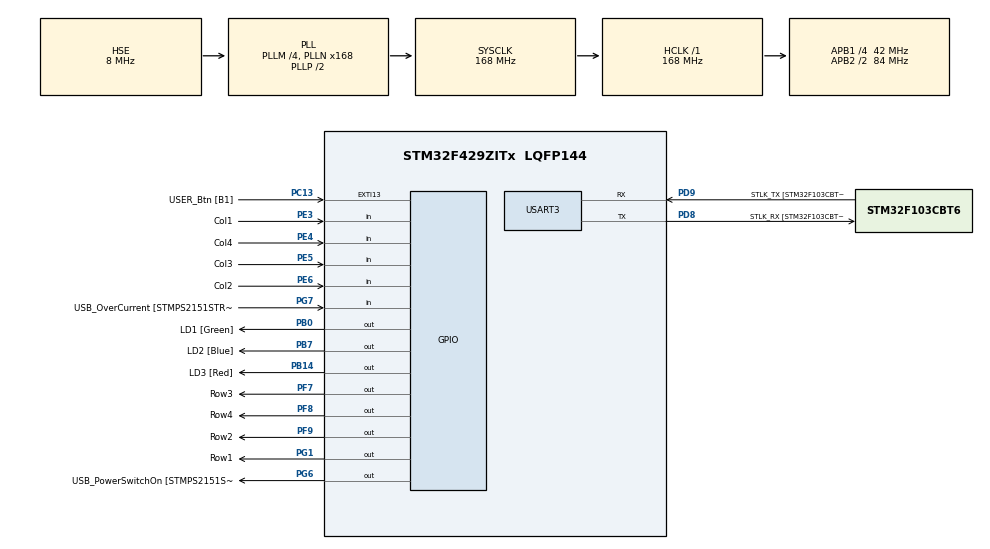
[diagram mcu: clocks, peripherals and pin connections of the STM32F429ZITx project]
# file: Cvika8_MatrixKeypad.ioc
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Mcu.Family=STM32F4
Mcu.Name=STM32F429ZITx
Mcu.Package=LQFP144
NVIC.PriorityGroup=NVIC_PRIORITYGROUP_4
NVIC.TIM3_IRQn=true\:0\:0\:false\:false\:true\:true\:true\:true
PA1.GPIO_Label=RMII_REF_CLK [LAN8742A-CZ-TR_REFCLK0]
PA1.Signal=ETH_REF_CLK
PA10.GPIO_Label=USB_ID
PA10.Signal=USB_OTG_FS_ID
PA11.GPIO_Label=USB_DM
PA11.Signal=USB_OTG_FS_DM
PA12.GPIO_Label=USB_DP
PA12.Signal=USB_OTG_FS_DP
PA13.GPIO_Label=TMS
PA13.Mode=Serial_Wire
PA13.Signal=SYS_JTMS-SWDIO
PA14.GPIO_Label=TCK
PA14.Mode=Serial_Wire
PA14.Signal=SYS_JTCK-SWCLK
PA2.GPIO_Label=RMII_MDIO [LAN8742A-CZ-TR_MDIO]
PA2.Signal=ETH_MDIO
PA7.GPIO_Label=RMII_CRS_DV [LAN8742A-CZ-TR_CRS_DV]
PA7.Signal=ETH_CRS_DV
PA8.GPIO_Label=USB_SOF [TP1]
PA8.Signal=USB_OTG_FS_SOF
PA9.GPIO_Label=USB_VBUS
PA9.Signal=USB_OTG_FS_VBUS
PB0.GPIO_Label=LD1 [Green]
PB0.Signal=GPIO_Output
PB13.GPIO_Label=RMII_TXD1 [LAN8742A-CZ-TR_TXD1]
PB13.Signal=ETH_TXD1
PB14.GPIO_Label=LD3 [Red]
PB14.Signal=GPIO_Output
PB7.GPIO_Label=LD2 [Blue]
PB7.Signal=GPIO_Output
PC1.GPIO_Label=RMII_MDC [LAN8742A-CZ-TR_MDC]
PC1.Signal=ETH_MDC
PC13.GPIO_Label=USER_Btn [B1]
PC13.Signal=GPXTI13
PC14/OSC32_IN.Mode=LSE-External-Oscillator
PC14/OSC32_IN.Signal=RCC_OSC32_IN
PC15/OSC32_OUT.Mode=LSE-External-Oscillator
PC15/OSC32_OUT.Signal=RCC_OSC32_OUT
PC4.GPIO_Label=RMII_RXD0 [LAN8742A-CZ-TR_RXD0]
PC4.Signal=ETH_RXD0
PC5.GPIO_Label=RMII_RXD1 [LAN8742A-CZ-TR_RXD1]
PC5.Signal=ETH_RXD1
PD8.GPIO_Label=STLK_RX [STM32F103CBT6_PA3]
PD8.Mode=Asynchronous
PD8.Signal=USART3_TX
PD9.GPIO_Label=STLK_TX [STM32F103CBT6_PA2]
PD9.Mode=Asynchronous
PD9.Signal=USART3_RX
PE3.GPIO_Label=Col1
PE3.GPIO_PuPd=GPIO_PULLUP
PE3.Signal=GPIO_Input
PE4.GPIO_Label=Col4
PE4.GPIO_PuPd=GPIO_PULLUP
PE4.Signal=GPIO_Input
PE5.GPIO_Label=Col3
PE5.GPIO_PuPd=GPIO_PULLUP
PE5.Signal=GPIO_Input
PE6.GPIO_Label=Col2
PE6.GPIO_PuPd=GPIO_PULLUP
PE6.Signal=GPIO_Input
PF7.GPIO_Label=Row3
PF7.GPIO_ModeDefaultOutputPP=GPIO_MODE_OUTPUT_OD
PF7.GPIO_PuPd=GPIO_NOPULL
PF7.Signal=GPIO_Output
PF8.GPIO_Label=Row4
PF8.GPIO_ModeDefaultOutputPP=GPIO_MODE_OUTPUT_OD
PF8.GPIO_PuPd=GPIO_NOPULL
PF8.Signal=GPIO_Output
PF9.GPIO_Label=Row2
PF9.GPIO_ModeDefaultOutputPP=GPIO_MODE_OUTPUT_OD
PF9.GPIO_PuPd=GPIO_NOPULL
PF9.Signal=GPIO_Output
PG1.GPIO_Label=Row1
PG1.GPIO_ModeDefaultOutputPP=GPIO_MODE_OUTPUT_OD
PG1.GPIO_PuPd=GPIO_NOPULL
PG1.Signal=GPIO_Output
PG11.GPIO_Label=RMII_TX_EN [LAN8742A-CZ-TR_TXEN]
PG11.Signal=ETH_TX_EN
PG13.GPIO_Label=RMII_TXD0 [LAN8742A-CZ-TR_TXD0]
PG13.Signal=ETH_TXD0
PG6.GPIO_Label=USB_PowerSwitchOn [STMPS2151STR_EN]
PG6.Signal=GPIO_Output
PG7.GPIO_Label=USB_OverCurrent [STMPS2151STR_FAULT]
PG7.Signal=GPIO_Input
PH0/OSC_IN.GPIO_Label=MCO [STM32F103CBT6_PA8]
PH0/OSC_IN.Mode=HSE-External-Clock-Source
PH0/OSC_IN.Signal=RCC_OSC_IN
PH1/OSC_OUT.Mode=HSE-External-Clock-Source
PH1/OSC_OUT.Signal=RCC_OSC_OUT
ProjectManager.HeapSize=0x200
ProjectManager.StackSize=0x400
ProjectManager.TargetToolchain=STM32CubeIDE
RCC.48MHZClocksFreq_Value=48000000
RCC.AHBFreq_Value=168000000
RCC.APB1CLKDivider=RCC_HCLK_DIV4
RCC.APB1Freq_Value=42000000
RCC.APB1TimFreq_Value=84000000
RCC.APB2CLKDivider=RCC_HCLK_DIV2
RCC.APB2Freq_Value=84000000
RCC.APB2TimCLKDivider=2
RCC.APB2TimFreq_Value=168000000
RCC.CortexFreq_Value=168000000
RCC.HCLKFreq_Value=168000000
RCC.HSE_VALUE=8000000
RCC.HSI_VALUE=16000000
RCC.PLLM=4
RCC.PLLMUL=RCC_PLL_MUL9
RCC.PLLN=168
RCC.PLLQ=7
RCC.PLLSourceVirtual=RCC_PLLSOURCE_HSE
RCC.PRESCALERUSB=RCC_USBCLKSOURCE_PLL_DIV1_5
RCC.SYSCLKFreq_VALUE=168000000
RCC.SYSCLKSource=RCC_SYSCLKSOURCE_PLLCLK
RCC.SYSCLKSourceVirtual=RCC_SYSCLKSOURCE_PLLCLK
RCC.USBFreq_Value=48000000
RCC.VCOOutputFreq_Value=336000000
TIM3.AutoReloadPreload=TIM_AUTORELOAD_PRELOAD_ENABLE
TIM3.Period=99
TIM3.Prescaler=8399
USART3.VirtualMode=VM_ASYNC
VP_TIM3_VS_ClockSourceINT.Mode=Internal
board=NUCLEO-F429ZI

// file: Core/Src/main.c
/* USER CODE BEGIN Header */
/**
 ******************************************************************************
 * @file           : main.c
 * @brief          : Main program body
 ******************************************************************************
 * @attention
 *
 * Copyright (c) 2024 STMicroelectronics.
 * All rights reserved.
 *
 * This software is licensed under terms that can be found in the LICENSE file
 * in the root directory of this software component.
 * If no LICENSE file comes with this software, it is provided AS-IS.
 *
 ******************************************************************************
 */
/* USER CODE END Header */
#include "main.h"

/* USER CODE BEGIN Includes */
#include <stdio.h>
/* USER CODE END Includes */

TIM_HandleTypeDef htim3;

UART_HandleTypeDef huart3;

/* USER CODE BEGIN PV */
static volatile char key;
static const char pass[5] = {'7','9','3','2','#'};
static uint8_t index = 0;
static uint32_t CurrentTime;

/* USER CODE END PV */

void SystemClock_Config(void);
static void MX_GPIO_Init(void);
static void MX_USART3_UART_Init(void);
static void MX_TIM3_Init(void);

/* USER CODE BEGIN 0 */

int __io_putchar(int ch)
{
	ITM_SendChar(ch);
	return 0;
}

void passCompare();

/* USER CODE END 0 */

int main(void)
{

	/* MCU Configuration--------------------------------------------------------*/

	/* Reset of all peripherals, Initializes the Flash interface and the Systick. */
	HAL_Init();

	/* Configure the system clock */
	SystemClock_Config();

	/* Initialize all configured peripherals */
	MX_GPIO_Init();
	MX_USART3_UART_Init();
	MX_TIM3_Init();
	/* USER CODE BEGIN 2 */
	HAL_TIM_Base_Start_IT(&htim3);
	/* USER CODE END 2 */

	/* Infinite loop */
	/* USER CODE BEGIN WHILE */
	while (1)
	{
		/*
		HAL_GPIO_TogglePin(LD1_GPIO_Port, LD1_Pin);
		HAL_Delay(250);

		for(int i = 0; i < 10; i++)
		{
			printf("Hello %d\n",i);
			HAL_Delay(1000);
		}
		 */

		passCompare();

		/* USER CODE END WHILE */

	}
}

void SystemClock_Config(void)
{
	RCC_OscInitTypeDef RCC_OscInitStruct = {0};
	RCC_ClkInitTypeDef RCC_ClkInitStruct = {0};

	/** Configure the main internal regulator output voltage
	 */
	__HAL_RCC_PWR_CLK_ENABLE();
	__HAL_PWR_VOLTAGESCALING_CONFIG(PWR_REGULATOR_VOLTAGE_SCALE1);

	/** Initializes the RCC Oscillators according to the specified parameters
	 * in the RCC_OscInitTypeDef structure.
	 */
	RCC_OscInitStruct.OscillatorType = RCC_OSCILLATORTYPE_HSE;
	RCC_OscInitStruct.HSEState = RCC_HSE_BYPASS;
	RCC_OscInitStruct.PLL.PLLState = RCC_PLL_ON;
	RCC_OscInitStruct.PLL.PLLSource = RCC_PLLSOURCE_HSE;
	RCC_OscInitStruct.PLL.PLLM = 4;
	RCC_OscInitStruct.PLL.PLLN = 168;
	RCC_OscInitStruct.PLL.PLLP = RCC_PLLP_DIV2;
	RCC_OscInitStruct.PLL.PLLQ = 7;
	if (HAL_RCC_OscConfig(&RCC_OscInitStruct) != HAL_OK)
	{
		Error_Handler();
	}

	/** Initializes the CPU, AHB and APB buses clocks
	 */
	RCC_ClkInitStruct.ClockType = RCC_CLOCKTYPE_HCLK|RCC_CLOCKTYPE_SYSCLK
			|RCC_CLOCKTYPE_PCLK1|RCC_CLOCKTYPE_PCLK2;
	RCC_ClkInitStruct.SYSCLKSource = RCC_SYSCLKSOURCE_PLLCLK;
	RCC_ClkInitStruct.AHBCLKDivider = RCC_SYSCLK_DIV1;
	RCC_ClkInitStruct.APB1CLKDivider = RCC_HCLK_DIV4;
	RCC_ClkInitStruct.APB2CLKDivider = RCC_HCLK_DIV2;

	if (HAL_RCC_ClockConfig(&RCC_ClkInitStruct, FLASH_LATENCY_5) != HAL_OK)
	{
		Error_Handler();
	}
}

static void MX_TIM3_Init(void)
{

	TIM_ClockConfigTypeDef sClockSourceConfig = {0};
	TIM_MasterConfigTypeDef sMasterConfig = {0};

	htim3.Instance = TIM3;
	htim3.Init.Prescaler = 8399;
	htim3.Init.CounterMode = TIM_COUNTERMODE_UP;
	htim3.Init.Period = 99;
	htim3.Init.ClockDivision = TIM_CLOCKDIVISION_DIV1;
	htim3.Init.AutoReloadPreload = TIM_AUTORELOAD_PRELOAD_ENABLE;
	if (HAL_TIM_Base_Init(&htim3) != HAL_OK)
	{
		Error_Handler();
	}
	sClockSourceConfig.ClockSource = TIM_CLOCKSOURCE_INTERNAL;
	if (HAL_TIM_ConfigClockSource(&htim3, &sClockSourceConfig) != HAL_OK)
	{
		Error_Handler();
	}
	sMasterConfig.MasterOutputTrigger = TIM_TRGO_RESET;
	sMasterConfig.MasterSlaveMode = TIM_MASTERSLAVEMODE_DISABLE;
	if (HAL_TIMEx_MasterConfigSynchronization(&htim3, &sMasterConfig) != HAL_OK)
	{
		Error_Handler();
	}

}

static void MX_USART3_UART_Init(void)
{

	huart3.Instance = USART3;
	huart3.Init.BaudRate = 115200;
	huart3.Init.WordLength = UART_WORDLENGTH_8B;
	huart3.Init.StopBits = UART_STOPBITS_1;
	huart3.Init.Parity = UART_PARITY_NONE;
	huart3.Init.Mode = UART_MODE_TX_RX;
	huart3.Init.HwFlowCtl = UART_HWCONTROL_NONE;
	huart3.Init.OverSampling = UART_OVERSAMPLING_16;
	if (HAL_UART_Init(&huart3) != HAL_OK)
	{
		Error_Handler();
	}

}

static void MX_GPIO_Init(void)
{
	GPIO_InitTypeDef GPIO_InitStruct = {0};

	/* GPIO Ports Clock Enable */
	__HAL_RCC_GPIOE_CLK_ENABLE();
	__HAL_RCC_GPIOC_CLK_ENABLE();
	__HAL_RCC_GPIOF_CLK_ENABLE();
	__HAL_RCC_GPIOH_CLK_ENABLE();
	__HAL_RCC_GPIOA_CLK_ENABLE();
	__HAL_RCC_GPIOB_CLK_ENABLE();
	__HAL_RCC_GPIOG_CLK_ENABLE();
	__HAL_RCC_GPIOD_CLK_ENABLE();

	/*Configure GPIO pin Output Level */
	HAL_GPIO_WritePin(GPIOF, Row3_Pin|Row4_Pin|Row2_Pin, GPIO_PIN_RESET);

	/*Configure GPIO pin Output Level */
	HAL_GPIO_WritePin(GPIOB, LD1_Pin|LD3_Pin|LD2_Pin, GPIO_PIN_RESET);

	/*Configure GPIO pin Output Level */
	HAL_GPIO_WritePin(GPIOG, Row1_Pin|USB_PowerSwitchOn_Pin, GPIO_PIN_RESET);

	/*Configure GPIO pins : Col1_Pin Col4_Pin Col3_Pin Col2_Pin */
	GPIO_InitStruct.Pin = Col1_Pin|Col4_Pin|Col3_Pin|Col2_Pin;
	GPIO_InitStruct.Mode = GPIO_MODE_INPUT;
	GPIO_InitStruct.Pull = GPIO_PULLUP;
	HAL_GPIO_Init(GPIOE, &GPIO_InitStruct);

	/*Configure GPIO pin : USER_Btn_Pin */
	GPIO_InitStruct.Pin = USER_Btn_Pin;
	GPIO_InitStruct.Mode = GPIO_MODE_IT_RISING;
	GPIO_InitStruct.Pull = GPIO_NOPULL;
	HAL_GPIO_Init(USER_Btn_GPIO_Port, &GPIO_InitStruct);

	/*Configure GPIO pins : Row3_Pin Row4_Pin Row2_Pin */
	GPIO_InitStruct.Pin = Row3_Pin|Row4_Pin|Row2_Pin;
	GPIO_InitStruct.Mode = GPIO_MODE_OUTPUT_OD;
	GPIO_InitStruct.Pull = GPIO_NOPULL;
	GPIO_InitStruct.Speed = GPIO_SPEED_FREQ_LOW;
	HAL_GPIO_Init(GPIOF, &GPIO_InitStruct);

	/*Configure GPIO pins : RMII_MDC_Pin RMII_RXD0_Pin RMII_RXD1_Pin */
	GPIO_InitStruct.Pin = RMII_MDC_Pin|RMII_RXD0_Pin|RMII_RXD1_Pin;
	GPIO_InitStruct.Mode = GPIO_MODE_AF_PP;
	GPIO_InitStruct.Pull = GPIO_NOPULL;
	GPIO_InitStruct.Speed = GPIO_SPEED_FREQ_VERY_HIGH;
	GPIO_InitStruct.Alternate = GPIO_AF11_ETH;
	HAL_GPIO_Init(GPIOC, &GPIO_InitStruct);

	/*Configure GPIO pins : RMII_REF_CLK_Pin RMII_MDIO_Pin RMII_CRS_DV_Pin */
	GPIO_InitStruct.Pin = RMII_REF_CLK_Pin|RMII_MDIO_Pin|RMII_CRS_DV_Pin;
	GPIO_InitStruct.Mode = GPIO_MODE_AF_PP;
	GPIO_InitStruct.Pull = GPIO_NOPULL;
	GPIO_InitStruct.Speed = GPIO_SPEED_FREQ_VERY_HIGH;
	GPIO_InitStruct.Alternate = GPIO_AF11_ETH;
	HAL_GPIO_Init(GPIOA, &GPIO_InitStruct);

	/*Configure GPIO pins : LD1_Pin LD3_Pin LD2_Pin */
	GPIO_InitStruct.Pin = LD1_Pin|LD3_Pin|LD2_Pin;
	GPIO_InitStruct.Mode = GPIO_MODE_OUTPUT_PP;
	GPIO_InitStruct.Pull = GPIO_NOPULL;
	GPIO_InitStruct.Speed = GPIO_SPEED_FREQ_LOW;
	HAL_GPIO_Init(GPIOB, &GPIO_InitStruct);

	/*Configure GPIO pin : Row1_Pin */
	GPIO_InitStruct.Pin = Row1_Pin;
	GPIO_InitStruct.Mode = GPIO_MODE_OUTPUT_OD;
	GPIO_InitStruct.Pull = GPIO_NOPULL;
	GPIO_InitStruct.Speed = GPIO_SPEED_FREQ_LOW;
	HAL_GPIO_Init(Row1_GPIO_Port, &GPIO_InitStruct);

	/*Configure GPIO pin : RMII_TXD1_Pin */
	GPIO_InitStruct.Pin = RMII_TXD1_Pin;
	GPIO_InitStruct.Mode = GPIO_MODE_AF_PP;
	GPIO_InitStruct.Pull = GPIO_NOPULL;
	GPIO_InitStruct.Speed = GPIO_SPEED_FREQ_VERY_HIGH;
	GPIO_InitStruct.Alternate = GPIO_AF11_ETH;
	HAL_GPIO_Init(RMII_TXD1_GPIO_Port, &GPIO_InitStruct);

	/*Configure GPIO pin : USB_PowerSwitchOn_Pin */
	GPIO_InitStruct.Pin = USB_PowerSwitchOn_Pin;
	GPIO_InitStruct.Mode = GPIO_MODE_OUTPUT_PP;
	GPIO_InitStruct.Pull = GPIO_NOPULL;
	GPIO_InitStruct.Speed = GPIO_SPEED_FREQ_LOW;
	HAL_GPIO_Init(USB_PowerSwitchOn_GPIO_Port, &GPIO_InitStruct);

	/*Configure GPIO pin : USB_OverCurrent_Pin */
	GPIO_InitStruct.Pin = USB_OverCurrent_Pin;
	GPIO_InitStruct.Mode = GPIO_MODE_INPUT;
	GPIO_InitStruct.Pull = GPIO_NOPULL;
	HAL_GPIO_Init(USB_OverCurrent_GPIO_Port, &GPIO_InitStruct);

	/*Configure GPIO pins : USB_SOF_Pin USB_ID_Pin USB_DM_Pin USB_DP_Pin */
	GPIO_InitStruct.Pin = USB_SOF_Pin|USB_ID_Pin|USB_DM_Pin|USB_DP_Pin;
	GPIO_InitStruct.Mode = GPIO_MODE_AF_PP;
	GPIO_InitStruct.Pull = GPIO_NOPULL;
	GPIO_InitStruct.Speed = GPIO_SPEED_FREQ_VERY_HIGH;
	GPIO_InitStruct.Alternate = GPIO_AF10_OTG_FS;
	HAL_GPIO_Init(GPIOA, &GPIO_InitStruct);

	/*Configure GPIO pin : USB_VBUS_Pin */
	GPIO_InitStruct.Pin = USB_VBUS_Pin;
	GPIO_InitStruct.Mode = GPIO_MODE_INPUT;
	GPIO_InitStruct.Pull = GPIO_NOPULL;
	HAL_GPIO_Init(USB_VBUS_GPIO_Port, &GPIO_InitStruct);

	/*Configure GPIO pins : RMII_TX_EN_Pin RMII_TXD0_Pin */
	GPIO_InitStruct.Pin = RMII_TX_EN_Pin|RMII_TXD0_Pin;
	GPIO_InitStruct.Mode = GPIO_MODE_AF_PP;
	GPIO_InitStruct.Pull = GPIO_NOPULL;
	GPIO_InitStruct.Speed = GPIO_SPEED_FREQ_VERY_HIGH;
	GPIO_InitStruct.Alternate = GPIO_AF11_ETH;
	HAL_GPIO_Init(GPIOG, &GPIO_InitStruct);

}

/* USER CODE BEGIN 4 */

void HAL_TIM_PeriodElapsedCallback(TIM_HandleTypeDef *htim)
{
	static uint8_t row = 0;
	static const char keyboard[4][4] = {
			{ '1', '2', '3', 'A' },
			{ '4', '5', '6', 'B' },
			{ '7', '8', '9', 'C' },
			{ '*', '0', '#', 'D' },
	};

	if (key == 0)
	{
		if (HAL_GPIO_ReadPin(Col1_GPIO_Port, Col1_Pin) == GPIO_PIN_RESET) {
			key = keyboard[row][0];
		}
		if (HAL_GPIO_ReadPin(Col2_GPIO_Port, Col2_Pin) == GPIO_PIN_RESET) {
			key = keyboard[row][1];
		}
		// ...etc...
		if (HAL_GPIO_ReadPin(Col3_GPIO_Port, Col3_Pin) == GPIO_PIN_RESET) {
			key = keyboard[row][2];
		}
		if (HAL_GPIO_ReadPin(Col4_GPIO_Port, Col4_Pin) == GPIO_PIN_RESET) {
			key = keyboard[row][3];
		}

	}
	HAL_GPIO_WritePin(Row1_GPIO_Port, Row1_Pin, GPIO_PIN_SET);
	HAL_GPIO_WritePin(Row2_GPIO_Port, Row2_Pin, GPIO_PIN_SET);
	HAL_GPIO_WritePin(Row3_GPIO_Port, Row3_Pin, GPIO_PIN_SET);
	HAL_GPIO_WritePin(Row4_GPIO_Port, Row4_Pin, GPIO_PIN_SET);
	switch (row) {
	case 0:
		row = 1;
		HAL_GPIO_WritePin(Row2_GPIO_Port, Row2_Pin, GPIO_PIN_RESET); //2
		break;
	case 1:
		row = 2;
		HAL_GPIO_WritePin(Row3_GPIO_Port, Row3_Pin, GPIO_PIN_RESET); //3
		break;
		// ...etc...
	case 2:
		row = 3;
		HAL_GPIO_WritePin(Row4_GPIO_Port, Row4_Pin, GPIO_PIN_RESET); //4
		break;
	case 3:
		row = 0;
		HAL_GPIO_WritePin(Row1_GPIO_Port, Row1_Pin, GPIO_PIN_RESET); //1
		break;
	}
}

void passCompare()
{
	if (key != 0) {
		printf("Pressed '%c'\n", key);

		if(key == pass[index])
		{
			index++;
			CurrentTime = HAL_GetTick();

			if(index == sizeof(pass))
			{
				printf("Password is correct\n");
				HAL_GPIO_WritePin(LD1_GPIO_Port, LD1_Pin,1);
				index = 0;
			}
		}
		else
		{
			printf("Password is incorrect\n");
			HAL_GPIO_WritePin(LD1_GPIO_Port, LD1_Pin, 0);
			index = 0;
		}

		HAL_Delay(500);
		key = 0;
	}

	if(HAL_GetTick() - CurrentTime >= 3000 && index != 0)
	{
		printf("Time's up, try again!\n");
		index = 0;
		HAL_GPIO_WritePin(LD1_GPIO_Port, LD1_Pin, 0);
	}
}

/* USER CODE END 4 */

void Error_Handler(void)
{
	__disable_irq();
	while (1)
	{
	}
}
